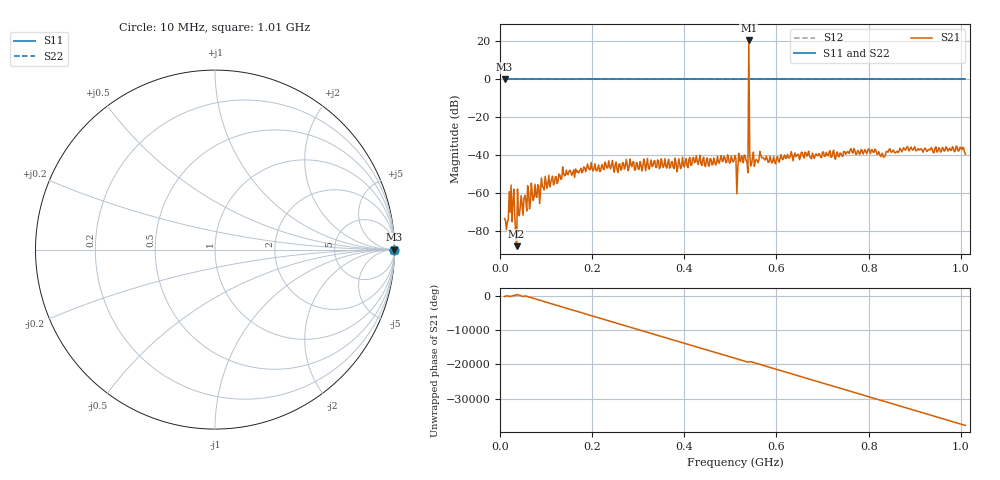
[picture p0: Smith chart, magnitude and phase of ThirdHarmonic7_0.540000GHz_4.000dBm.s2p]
! 8/17/2025 4:14:31 PM
! C:\ANRITSUVNA\TEMP\TEMP.S2P
! CHANNEL.1
! TR.MEASUREMENT
! RAW.DATA
! RF.CORRECTION.OFF
! AVERAGING.OFF
! IF.BANDWIDTH: 5KHZ
! SWEEPTYPE:  FREQ.SWEEP(Linear)
! Reference Plane Port Info
! PORT:  PORT1  PORT2
! DISTANCE:  0  m  0  m
! TIME:  0  s  0  s
! PHASE.OFFSET:  0  deg.  0  deg.
! LOSS:  0  dB  0  dB
! REF.LOSS:  0  dB  0  dB
! REF.FREQ:  0  Hz  0  Hz
! Power Info
! POWER:  -20  dBm  -20  dBm
! EFF.POWER:  -20  dBm  -20  dBm
! SOURCE.ATTEN:  0  dB  0  dB
! TEST.ATTEN:  0  dB  0  dB
# GHZ S RI R 50.0
! FREQ.GHZ  S11RE  S11IM  S21RE  S21IM  S12RE  S12IM  S22RE  S22IM
!; PortSelection: Port_12
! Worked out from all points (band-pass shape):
!   501 points, 10 MHz to 1.01 GHz, reference 50 ohm
!   highest |S21| = 20.50 dB at 540 MHz (marker M1); lowest = -87.9 dB at 36 MHz (marker M2)
!   |S21| within 3 dB of the highest: 539.914 MHz to 540.0999 MHz (185.9 kHz wide, 0.0344 % of centre)
!   lowest |S11| = 0.0 dB at 10 MHz (marker M3)
!   |S11| at or under -10 dB: nowhere
!   |S22| runs from 0.0 to 0.0 dB; largest |S21 - S12| = 12
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0.01  1 0  2.12e-05 -0.000213  1 0  1 0
0.014  1 0  -0.0001 4.22e-05  1 0  1 0
0.02  1 0  0.000317 0.00106  1 0  1 0
0.026  1 0  -0.00011 0.000138  1 0  1 0
0.036  1 0  4.01e-05 -1.2e-06  1 0  1 0
0.042  1 0  0.000168 -0.000191  1 0  1 0
0.094  1 0  0.00139 -0.000149  1 0  1 0
0.178  1 0  -0.00338 -0.000733  1 0  1 0
0.344  1 0  0.00648 -0.00304  1 0  1 0
0.484  1 0  -0.00594 0.00349  1 0  1 0
0.506  1 0  0.00627 -0.00217  1 0  1 0
0.51  1 0  -0.00987 6.81e-05  1 0  1 0
0.518  1 0  -0.01 -0.00517  1 0  1 0
0.522  1 0  0.00359 0.00573  1 0  1 0
0.534  1 0  0.00143 -0.00719  1 0  1 0
0.536  1 0  -0.0052 -0.00399  1 0  1 0
0.54  1 0  -10.07 3.269  1 0  1 0
0.544  1 0  -0.00199 -0.00477  1 0  1 0
0.546  1 0  -0.00577 -0.000323  1 0  1 0
0.678  1 0  0.00221 -0.0112  1 0  1 0
0.844  1 0  -0.00179 0.0138  1 0  1 0
1.01  1 0  -0.00337 -0.0101  1 0  1 0
